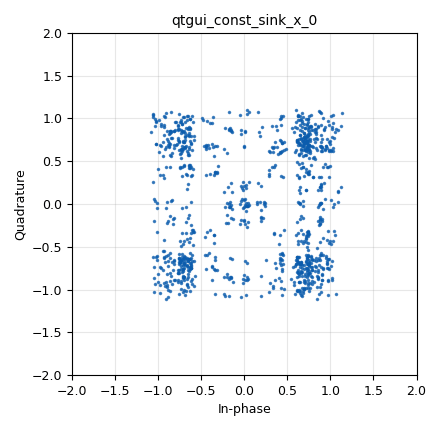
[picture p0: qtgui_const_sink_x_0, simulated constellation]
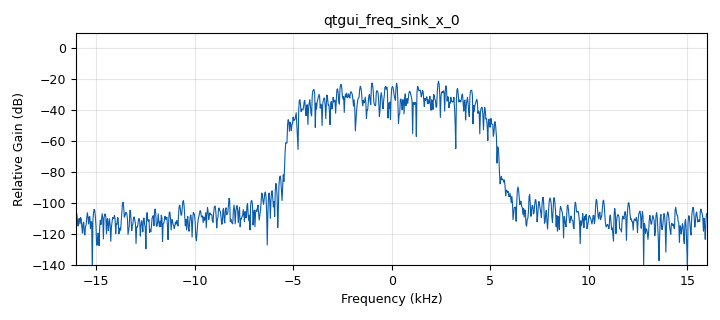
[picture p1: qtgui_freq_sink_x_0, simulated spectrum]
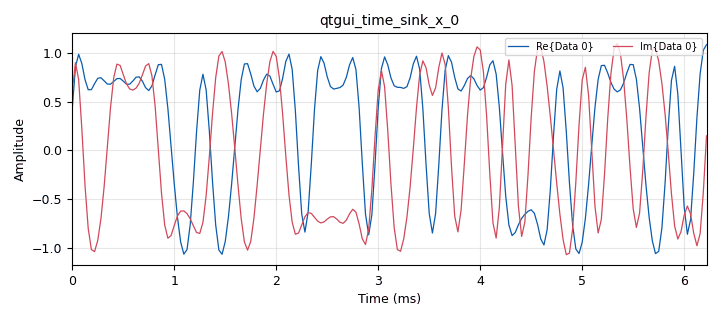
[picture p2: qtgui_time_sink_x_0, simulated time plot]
options:
  parameters:
    generate_options: qt_gui
    id: channel_model
    output_language: python
  states: {}

blocks:
- name: excess_bw
  id: variable
  parameters:
    value: '0.35'
  states: {}
- name: freq_offset
  id: variable_qtgui_range
  parameters:
    label: channel frequncy offset
    start: '-0.1'
    step: '0.001'
    stop: '0.1'
    value: '0'
  states: {}
- name: noise_volt
  id: variable_qtgui_range
  parameters:
    label: Noise voltage
    start: '0'
    step: '0.01'
    stop: '1'
    value: '0.0001'
  states: {}
- name: qpsk
  id: variable_constellation_rect
  parameters:
    const_points: '[0.707+0.707j, -0.707+0.707j, -0.707-0.707j, 0.707-0.707j]'
    imag_sect: '2'
    real_sect: '2'
    rot_sym: '4'
    sym_map: '[0, 1, 3, 2]'
    w_imag_sect: '1'
    w_real_sect: '1'
  states: {}
- name: samp_rate
  id: variable
  parameters:
    value: '32000'
  states: {}
- name: sps
  id: variable
  parameters:
    value: '4'
  states: {}
- name: taps
  id: variable
  parameters:
    value: '1'
  states: {}
- name: time_offset
  id: variable_qtgui_range
  parameters:
    label: channel time offset
    start: '0.999'
    step: '0.0001'
    stop: '1.001'
    value: '1'
  states: {}
- name: analog_random_source_x_0
  id: analog_random_source_x
  parameters:
    max: '256'
    min: '0'
    num_samps: '10000'
    repeat: 'True'
    type: byte
  states: {}
- name: blocks_throttle_0_0
  id: blocks_throttle
  parameters:
    samples_per_second: samp_rate
    type: complex
  states: {}
- name: channels_channel_model_0
  id: channels_channel_model
  parameters:
    epsilon: time_offset
    freq_offset: freq_offset
    noise_voltage: noise_volt
    seed: '0'
    taps: taps
  states: {}
- name: digital_constellation_modulator_0
  id: digital_constellation_modulator
  parameters:
    constellation: qpsk
    differential: 'True'
    excess_bw: excess_bw
    samples_per_symbol: sps
  states: {}
- name: qtgui_const_sink_x_0
  id: qtgui_const_sink_x
  parameters:
    size: '1024'
    type: complex
  states: {}
- name: qtgui_freq_sink_x_0
  id: qtgui_freq_sink_x
  parameters:
    bw: samp_rate
    fc: '0'
    fftsize: '1024'
    type: complex
  states: {}
- name: qtgui_time_sink_x_0
  id: qtgui_time_sink_x
  parameters:
    autoscale: 'True'
    size: '200'
    srate: samp_rate
    type: complex
  states: {}

connections:
- [analog_random_source_x_0, '0', digital_constellation_modulator_0, '0']
- [blocks_throttle_0_0, '0', channels_channel_model_0, '0']
- [channels_channel_model_0, '0', qtgui_const_sink_x_0, '0']
- [channels_channel_model_0, '0', qtgui_freq_sink_x_0, '0']
- [channels_channel_model_0, '0', qtgui_time_sink_x_0, '0']
- [digital_constellation_modulator_0, '0', blocks_throttle_0_0, '0']

metadata:
  file_format: 1
